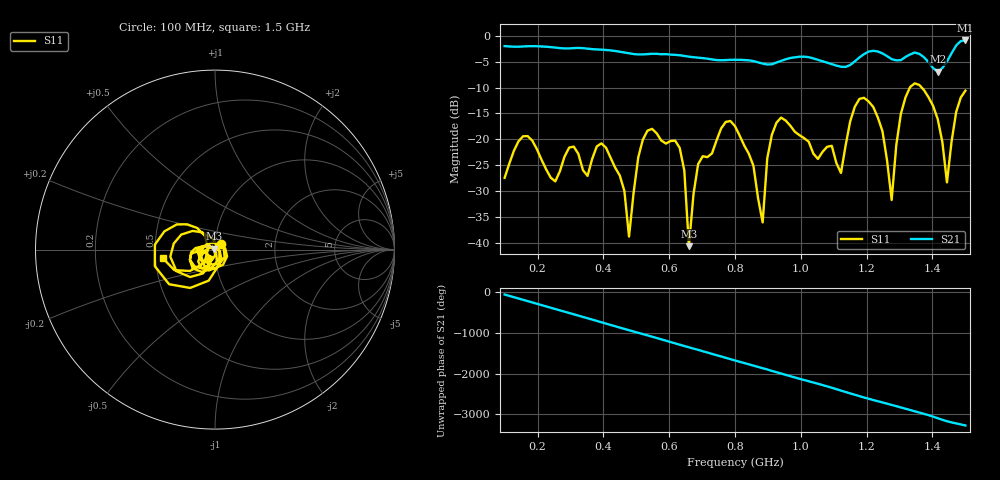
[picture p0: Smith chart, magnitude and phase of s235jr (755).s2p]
! NanoVNA-App
! Date: 2025-09-25 15:10:03
! Start: 100MHz Stop: 1,5GHz Points: 101
! S-Parameter data: F S11 S21 S12 S22
# Hz S RI R 50
!  Frequency  S11_Real  S11_Imag  S21_Real  S21_Imag  S12_Real  S12_Imag  S22_Real  S22_Imag
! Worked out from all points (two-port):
!   101 points, 100 MHz to 1.5 GHz, reference 50 ohm
!   highest |S21| = -0.88 dB at 1.5 GHz (marker M1); lowest = -6.9 dB at 1.416 GHz (marker M2)
!   |S21| within 3 dB of the highest: start of sweep to 647 MHz; 1.184 GHz to 1.261 GHz (76.94 MHz wide, 6.29 % of centre) (the widest 2 of 4)
!   lowest |S11| = -40.7 dB at 660 MHz (marker M3), VSWR 1.02, Z = 49.3 + j0.566 ohm
!   |S11| at or under -10 dB: start of sweep to 1.331 GHz; 1.367 GHz to end of sweep
!   S12 and S22 are empty: the file has one direction only
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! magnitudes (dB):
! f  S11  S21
! 100 MHz  -27.5  -2.0
! 156 MHz  -19.4  -2.0
! 338 MHz  -26.0  -2.4
! 408 MHz  -21.6  -2.7
! 478 MHz  -38.8  -3.4
! 520 MHz  -20.1  -3.6
! 576 MHz  -20.2  -3.5
! 632 MHz  -21.7  -3.7
! 660 MHz  -40.7  -4.0
! 688 MHz  -24.8  -4.2
! 800 MHz  -17.5  -4.6
! 884 MHz  -36.1  -5.4
! 926 MHz  -16.8  -5.1
! 1.038 GHz  -22.8  -4.3
! 1.122 GHz  -26.5  -6.0
! 1.192 GHz  -12.0  -3.5
! 1.248 GHz  -18.4  -3.4
! 1.276 GHz  -31.7  -4.5
! 1.332 GHz  -9.9  -3.6
! 1.416 GHz  -16.1  -6.9
! 1.444 GHz  -28.3  -5.0
! 1.5 GHz  -10.6  -0.9
